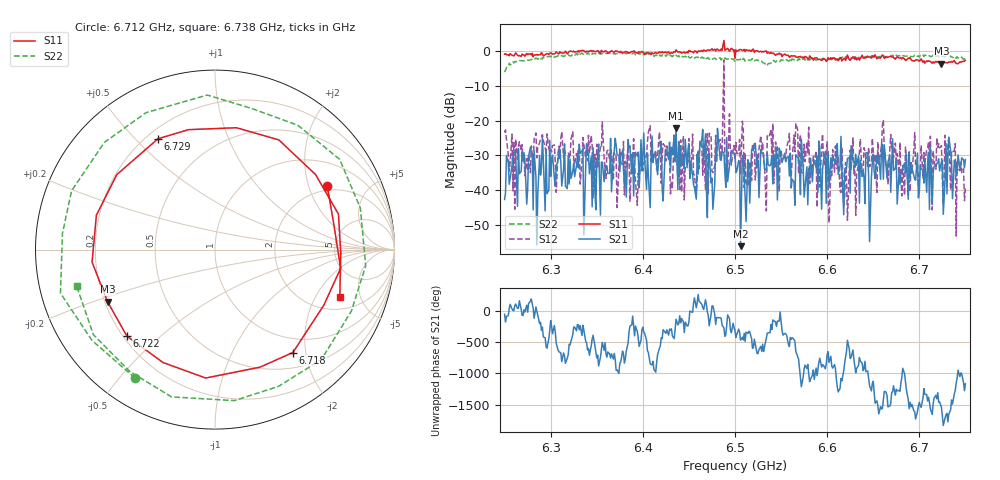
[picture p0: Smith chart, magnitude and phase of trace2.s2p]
# Hz S RI R 50
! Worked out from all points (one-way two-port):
!   401 points, 6.25 GHz to 6.75 GHz, reference 50 ohm
!   highest |S21| = -22.19 dB at 6.436 GHz (marker M1); lowest = -56.2 dB at 6.506 GHz (marker M2)
!   lowest |S11| = -3.5 dB at 6.724 GHz (marker M3), VSWR 4.98, Z = 10.6 - j11 ohm
!   |S11| at or under -10 dB: nowhere
!   |S22| runs from -6.0 to 0.1 dB; largest |S21 - S12| = 0.74
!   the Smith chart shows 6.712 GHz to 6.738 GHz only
!   S11 on the Smith chart (normalised r, x): 6.712 GHz: 1.83, +2.67; 6.718 GHz: 0.74, -1.77; 6.722 GHz: 0.21, -0.39; 6.729 GHz: 0.24, +0.58; 6.738 GHz: 2.77, -3.25
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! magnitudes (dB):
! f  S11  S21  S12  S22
! 6.25 GHz  -0.8  -42.7  -23.4  -6.0
! 6.259 GHz  -1.2  -30.3  -40.3  -3.0
! 6.284 GHz  -1.0  -36.3  -23.5  -1.9
! 6.29 GHz  -0.4  -33.4  -24.9  -1.9
! 6.334 GHz  0.3  -28.7  -31.7  -0.4
! 6.418 GHz  -0.1  -28.6  -23.3  -1.2
! 6.436 GHz  0.4  -22.2  -25.8  -1.1
! 6.5 GHz  -2.0  -29.6  -31.3  -3.0
! 6.506 GHz  0.6  -56.2  -35.4  -2.2
! 6.512 GHz  0.5  -49.1  -38.1  -2.8
! 6.52 GHz  0.6  -28.7  -28.0  -2.6
! 6.539 GHz  -0.3  -32.4  -22.4  -3.3
! 6.584 GHz  -2.0  -37.7  -33.2  -2.1
! 6.62 GHz  -2.6  -33.6  -32.1  -1.5
! 6.668 GHz  -1.5  -30.1  -28.0  -1.2
! 6.712 GHz  -2.9  -27.6  -24.5  -1.5
! 6.718 GHz  -2.9  -33.2  -34.0  -1.3
! 6.722 GHz  -3.2  -34.5  -27.8  -1.8
! 6.724 GHz  -3.5  -31.8  -27.2  -1.6
! 6.729 GHz  -3.2  -26.6  -35.1  -1.6
! 6.738 GHz  -2.6  -31.4  -28.7  -2.0
! 6.75 GHz  -2.6  -31.2  -39.6  -2.4
